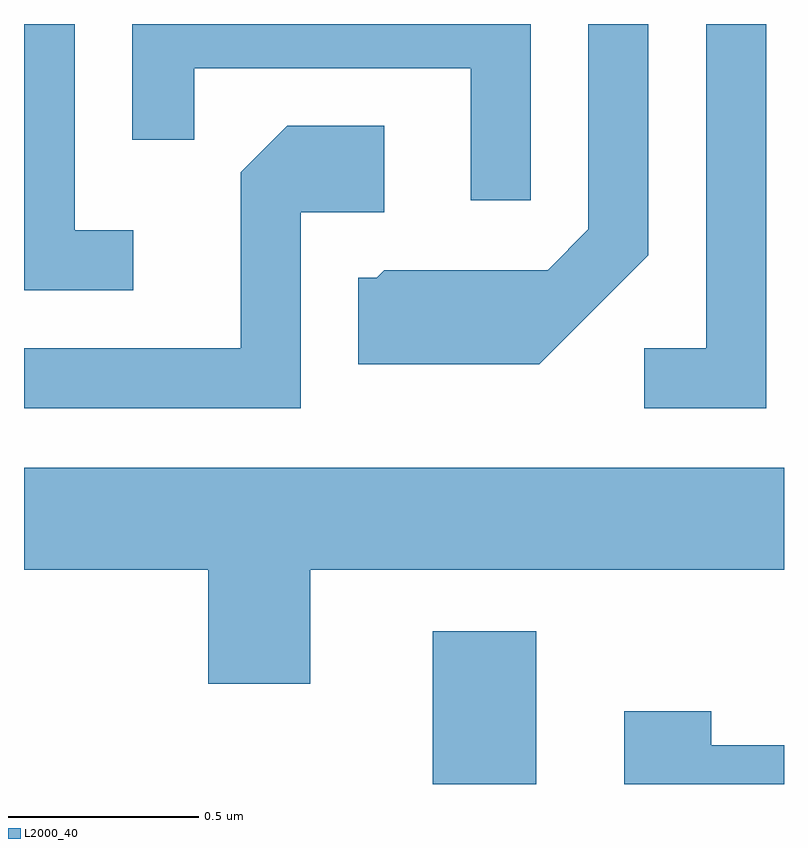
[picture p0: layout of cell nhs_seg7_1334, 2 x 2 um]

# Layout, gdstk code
import gdstk
lib = gdstk.Library(unit=1e-6, precision=1e-09)
def R(c, l, rs):  # rectangles x0, y0, x1, y1
    for r in rs: c.add(gdstk.rectangle(r[:2], r[2:], *l))
def P(c, l, *ps):  # polygons
    for p in ps: c.add(gdstk.Polygon(p, *l))
L2000_40 = (2000, 40)

nhs_seg7_1334 = lib.new_cell('nhs_seg7_1334')
R(nhs_seg7_1334, L2000_40, [(195.686,1769.252,195.959,1769.654)])
P(nhs_seg7_1334, L2000_40, [(195.944,1771.252),(194.896,1771.252),(194.896,1770.948),(195.059,1770.948),(195.059,1771.136),(195.786,1771.136),(195.786,1770.788),(195.944,1770.788)],
  [(196.564,1771.252),(196.406,1771.252),(196.406,1770.399),(196.243,1770.399),(196.243,1770.241),(196.564,1770.241)],
  [(194.898,1770.709),(194.744,1770.709),(194.744,1771.252),(194.611,1771.252),(194.611,1770.551),(194.898,1770.551)],
  [(196.254,1770.644),(196.254,1771.252),(196.096,1771.252),(196.096,1770.712),(195.989,1770.604),(195.559,1770.604),(195.539,1770.584),(195.491,1770.584),(195.491,1770.356),(195.967,1770.356)],
  [(195.339,1770.756),(195.559,1770.756),(195.559,1770.984),(195.304,1770.984),(195.181,1770.862),(195.181,1770.399),(194.611,1770.399),(194.611,1770.241),(195.339,1770.241)],
  [(195.364,1769.816),(196.611,1769.816),(196.611,1770.084),(194.611,1770.084),(194.611,1769.816),(195.096,1769.816),(195.096,1769.516),(195.364,1769.516)],
  [(196.611,1769.354),(196.419,1769.354),(196.419,1769.444),(196.191,1769.444),(196.191,1769.252),(196.611,1769.252)])

lib.write_gds('nhs_seg7_1334.gds')
